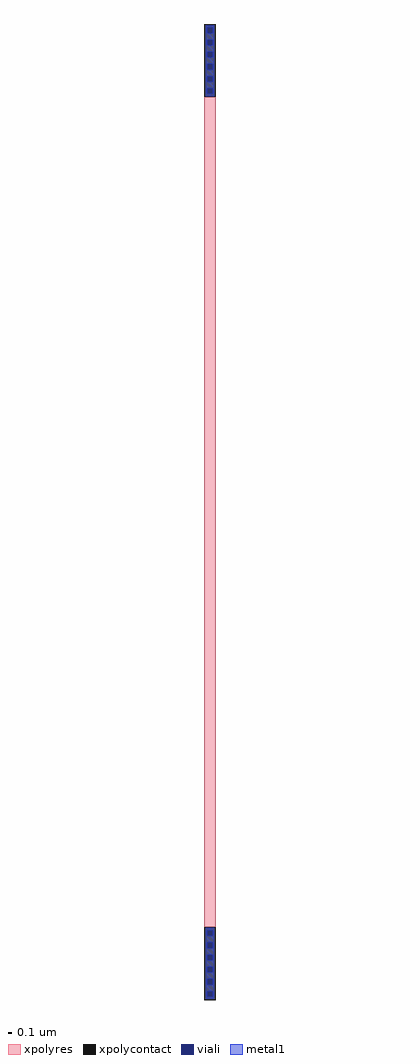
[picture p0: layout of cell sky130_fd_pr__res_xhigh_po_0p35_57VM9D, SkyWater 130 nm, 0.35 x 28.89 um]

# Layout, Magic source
magic
tech sky130A
magscale 1 2
<< xpolycontact >>
rect -35 2457 35 2889
rect -35 -2889 35 -2457
<< xpolyres >>
rect -35 -2457 35 2457
<< viali >>
rect -17 2835 17 2869
rect -17 2763 17 2797
rect -17 2691 17 2725
rect -17 2619 17 2653
rect -17 2547 17 2581
rect -17 2475 17 2509
rect -17 -2510 17 -2476
rect -17 -2582 17 -2548
rect -17 -2654 17 -2620
rect -17 -2726 17 -2692
rect -17 -2798 17 -2764
rect -17 -2870 17 -2836
<< metal1 >>
rect -25 2869 25 2883
rect -25 2835 -17 2869
rect 17 2835 25 2869
rect -25 2797 25 2835
rect -25 2763 -17 2797
rect 17 2763 25 2797
rect -25 2725 25 2763
rect -25 2691 -17 2725
rect 17 2691 25 2725
rect -25 2653 25 2691
rect -25 2619 -17 2653
rect 17 2619 25 2653
rect -25 2581 25 2619
rect -25 2547 -17 2581
rect 17 2547 25 2581
rect -25 2509 25 2547
rect -25 2475 -17 2509
rect 17 2475 25 2509
rect -25 2462 25 2475
rect -25 -2476 25 -2462
rect -25 -2510 -17 -2476
rect 17 -2510 25 -2476
rect -25 -2548 25 -2510
rect -25 -2582 -17 -2548
rect 17 -2582 25 -2548
rect -25 -2620 25 -2582
rect -25 -2654 -17 -2620
rect 17 -2654 25 -2620
rect -25 -2692 25 -2654
rect -25 -2726 -17 -2692
rect 17 -2726 25 -2692
rect -25 -2764 25 -2726
rect -25 -2798 -17 -2764
rect 17 -2798 25 -2764
rect -25 -2836 25 -2798
rect -25 -2870 -17 -2836
rect 17 -2870 25 -2836
rect -25 -2883 25 -2870
<< end >>
